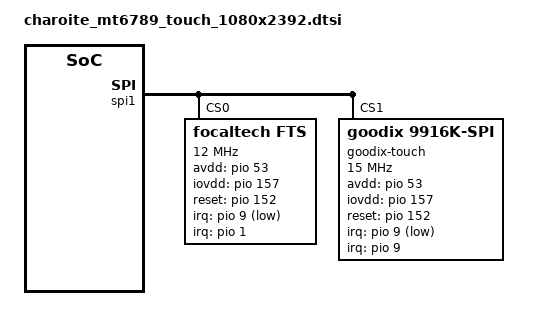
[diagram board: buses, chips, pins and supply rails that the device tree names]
/* TOUCH start */
&spi1 {
	mediatek,pad-select = <0>,<1>;
	focaltech@0 {
		mediatek,fifo-polling = <1>;
		compatible = "focaltech,fts";
		reg = <0>;
		status = "ok";
		//panel = <&dsi_panel_n6_42_0d_0a_dsc_vdo_lcm_drv>;
		spi-max-frequency = <12000000>;
		interrupt-parent = <&pio>;
		interrupts = <1 0x2>;
		focaltech,avdd-name = "avdd";
		focaltech,avdd-gpio = <&pio 53 0x00>;
		focaltech,iovdd-name = "iovdd";
		focaltech,iovdd-gpio = <&pio 157 0x00>;
		focaltech,reset-gpio =  <&pio 152 0x00>;
		focaltech,irq-gpio = <&pio 9 0x2001>;
		focaltech,max-touch-number = <10>;
		focaltech,display-coords =  <0 0 17280 38272>;
		focaltech,touch-range-array = <1 5 10 15 20>;
		focaltech,touch-def-array = <4 3 3 3>;
		focaltech,touch-expert-array = <10 15 10 10
						20 15 15 10
						15 15 20 10>;
	};

	goodix-touch@1 {
		mediatek,fifo-polling = <1>;
		compatible = "goodix,9916k-spi";
		reg = <1>;
		status = "ok";
		spi-max-frequency = <15000000>;
		interrupt-parent = <&pio>;
		interrupts = <9 0x2001>;
		goodix,avdd-name = "avdd";
		goodix,avdd-gpio = <&pio 53 0x00>;
		goodix,iovdd-name = "iovdd";
		goodix,iovdd-gpio = <&pio 157 0x00>;
		goodix,reset-gpio = <&pio 152 0x0>;
		goodix,irq-gpio = <&pio 9 0x2001>;
		goodix,irq-flags = <2>; /* 1:trigger rising, 2:trigger falling; */
		goodix,panel-max-x = <17280>;
		goodix,panel-max-y = <38272>;
		goodix,panel-max-w = <255>;
		/* optional properties */
		goodix,panel-max-p = <4096>; /* max pressure that pen device supported */
		//goodix,pen-enable; /* support active stylus device*/
		goodix,sleep-enable; /* enter sleep mode */
		//goodix,firmware-name = "gt9916_ts_fw_vsn.bin";
		//goodix,config-name = "goodix_cfg_group_vsn.bin";
		goodix,touch-expert-array = <2 3 2 2
					     4 3 3 2
					     3 3 4 2>;
	};
};
/* TOUCH end */
